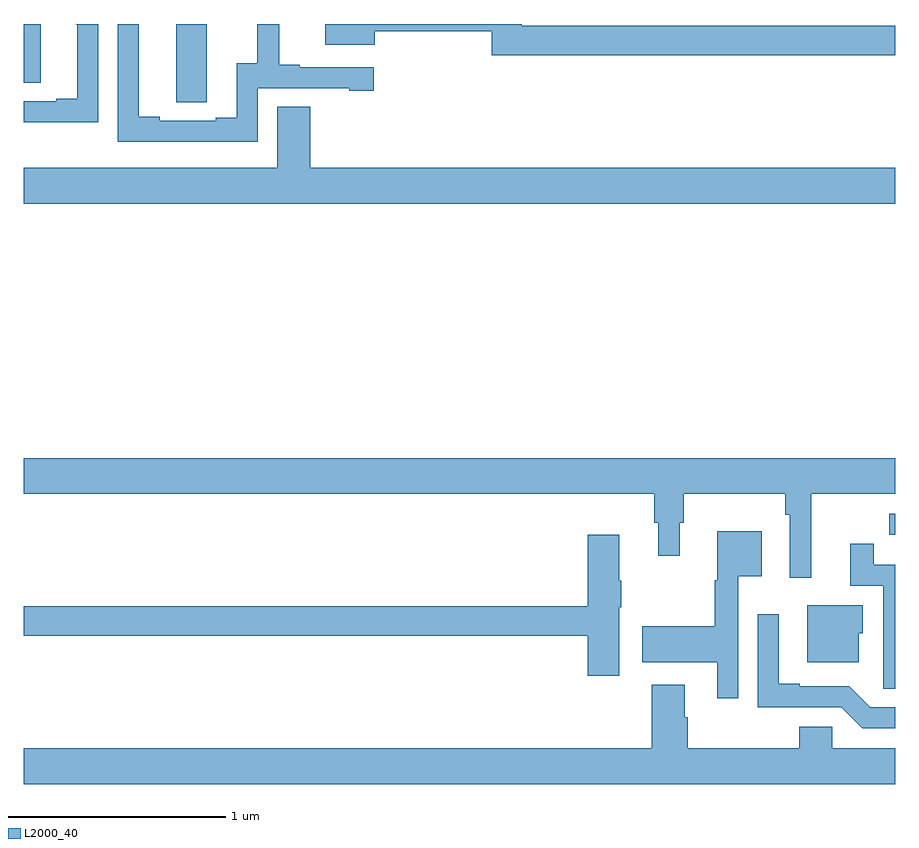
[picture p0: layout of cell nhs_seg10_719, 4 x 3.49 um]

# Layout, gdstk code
import gdstk
lib = gdstk.Library(unit=1e-6, precision=1e-09)
def R(c, l, rs):  # rectangles x0, y0, x1, y1
    for r in rs: c.add(gdstk.rectangle(r[:2], r[2:], *l))
def P(c, l, *ps):  # polygons
    for p in ps: c.add(gdstk.Polygon(p, *l))
L2000_40 = (2000, 40)

nhs_seg10_719 = lib.new_cell('nhs_seg10_719')
R(nhs_seg10_719, L2000_40, [(150.972,1272.156,151,1272.252), (147,1274.23,147.079,1274.5)])
P(nhs_seg10_719, L2000_40, [(147.84,1274.248),(147.841,1274.248),(147.841,1274.5),(147.701,1274.5),(147.701,1274.14),(147.84,1274.14)],
  [(148.074,1274.205),(148.493,1274.205),(148.493,1274.193),(148.606,1274.193),(148.606,1274.301),(148.267,1274.301),(148.267,1274.314),(148.172,1274.314),(148.172,1274.5),(148.072,1274.5),(148.072,1274.321),(147.977,1274.321),(147.977,1274.07),(147.881,1274.07),(147.881,1274.055),(147.625,1274.055),(147.625,1274.075),(147.529,1274.075),(147.529,1274.5),(147.432,1274.5),(147.432,1273.959),(148.074,1273.959)],
  [(147.342,1274.5),(147.239,1274.5),(147.245,1274.494),(147.245,1274.158),(147.149,1274.158),(147.149,1274.145),(147,1274.145),(147,1274.049),(147.079,1274.049),(147.079,1274.048),(147.342,1274.048)],
  [(151,1274.492),(149.285,1274.492),(149.285,1274.5),(148.385,1274.5),(148.385,1274.405),(148.612,1274.405),(148.612,1274.467),(149.149,1274.467),(149.149,1274.356),(151,1274.356)],
  [(151,1273.84),(148.316,1273.84),(148.316,1274.12),(148.163,1274.12),(148.163,1273.84),(147,1273.84),(147,1273.676),(151,1273.676)],
  [(150.614,1272.344),(151,1272.344),(151,1272.508),(147,1272.508),(147,1272.344),(149.893,1272.344),(149.893,1272.21),(149.912,1272.21),(149.912,1272.06),(150.01,1272.06),(150.01,1272.21),(150.029,1272.21),(150.029,1272.344),(150.496,1272.344),(150.496,1272.248),(150.516,1272.248),(150.516,1271.958),(150.614,1271.958)],
  [(150.279,1271.966),(150.388,1271.966),(150.388,1272.172),(150.182,1272.172),(150.182,1271.946),(150.171,1271.946),(150.171,1271.736),(149.838,1271.736),(149.838,1271.57),(150.182,1271.57),(150.182,1271.406),(150.279,1271.406)],
  [(149.734,1271.824),(149.742,1271.824),(149.742,1271.944),(149.734,1271.944),(149.734,1272.157),(149.588,1272.157),(149.588,1271.828),(147,1271.828),(147,1271.692),(149.588,1271.692),(149.588,1271.508),(149.734,1271.508)],
  [(151,1272.018),(150.902,1272.018),(150.902,1272.115),(150.794,1272.115),(150.794,1271.922),(150.944,1271.922),(150.944,1271.56),(150.945,1271.56),(150.945,1271.449),(151,1271.449)],
  [(150.832,1271.703),(150.85,1271.703),(150.85,1271.833),(150.596,1271.833),(150.596,1271.57),(150.832,1271.57)],
  [(151,1271.364),(150.885,1271.364),(150.789,1271.46),(150.562,1271.46),(150.562,1271.473),(150.466,1271.473),(150.466,1271.791),(150.369,1271.791),(150.369,1271.364),(150.753,1271.364),(150.849,1271.268),(151,1271.268)],
  [(151,1271.176),(150.711,1271.176),(150.711,1271.274),(150.56,1271.274),(150.56,1271.176),(150.047,1271.176),(150.047,1271.318),(150.034,1271.318),(150.034,1271.467),(149.882,1271.467),(149.882,1271.176),(147,1271.176),(147,1271.012),(151,1271.012)])

lib.write_gds('nhs_seg10_719.gds')
